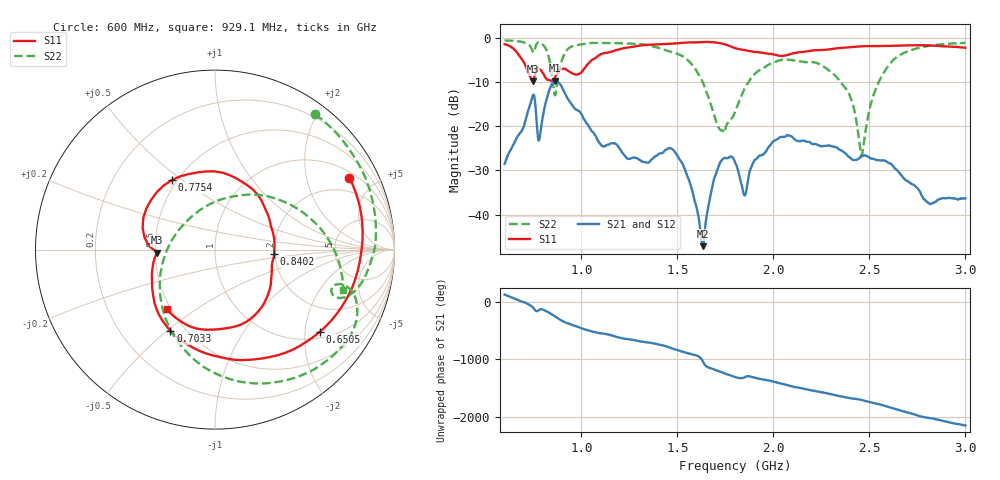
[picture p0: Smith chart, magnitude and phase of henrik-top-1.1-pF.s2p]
#  HZ  S  RI  R  50.00
! Rohde & Schwarz ZVB8 2Ports - Version 2.81 - 1145.1010k08 SN: 100113
! Date: 2016-04-20 02:37:23
! Measurements: S11 S21 S12 S22
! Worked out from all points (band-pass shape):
!   1000 points, 600 MHz to 3 GHz, reference 50 ohm
!   highest |S21| = -9.66 dB at 864.3 MHz (marker M1); lowest = -47.2 dB at 1.633 GHz (marker M2)
!   |S21| within 3 dB of the highest: 827 MHz to 916 MHz (89 MHz wide, 10.2 % of centre)
!   lowest |S11| = -9.8 dB at 746.5 MHz (marker M3), VSWR 1.96, Z = 25.6 - j0.923 ohm
!   |S11| at or under -10 dB: nowhere
!   |S22| runs from -26.7 to -0.6 dB; largest |S21 - S12| = 0.0029
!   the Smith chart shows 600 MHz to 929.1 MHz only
!   S11 on the Smith chart (normalised r, x): 600 MHz: 1.24, +3.58; 650.5 MHz: 1.17, -2.39; 703.3 MHz: 0.42, -0.51; 775.4 MHz: 0.47, +0.46; 840.2 MHz: 1.98, -0.10; 929.1 MHz: 0.48, -0.39
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6e8  0.7488 0.4009  -0.0226 0.0299  -0.0226 0.0298  0.5587 0.7542
6.504505e8  0.5834 -0.4585  0.0342 0.0552  0.0342 0.0552  0.8214 0.4359
7.033033e8  -0.2489 -0.4529  0.1045 -0.015  0.104 -0.0172  0.8868 -0.00759
7.465465e8  -0.3233 -0.0162  -0.0184 -0.2223  -0.0182 -0.2222  0.6555 -0.2518
7.753754e8  -0.2409 0.3877  -0.0617 -0.0349  -0.062 -0.0353  0.7569 -0.4752
8.402402e8  0.3303 -0.0229  -0.2554 0.1219  -0.2553 0.122  -0.2758 -0.3843
8.642643e8  0.3102 -0.1971  -0.0605 0.3232  -0.0605 0.3233  -0.1284 0.1858
9.291291e8  -0.2686 -0.3324  0.1988 -0.048  0.1986 -0.048  0.7154 -0.2239
1.001201e9  -0.411 0.0374  -0.0242 -0.1341  -0.0242 -0.1341  0.342 -0.7745
1.111712e9  0.0783 0.6636  -0.0579 0.0116  -0.0578 0.0116  -0.4584 -0.7525
1.231832e9  0.7755 -0.0208  0.0107 0.0433  0.0108 0.0432  -0.8689 -0.0284
1.4e9  -0.2081 -0.8219  0.0458 -0.0149  0.0458 -0.015  -0.061 0.7732
1.524925e9  -0.8698 -0.1452  -0.0308 -0.0226  -0.0308 -0.0226  0.578 0.2386
1.633033e9  -0.6383 0.6353  0.0032 0.00299  0.00319 0.00297  0.1655 -0.2644
1.717117e9  -0.0622 0.8773  -0.0211 -0.0296  -0.0211 -0.0297  -0.0246 -0.0911
1.801201e9  0.4119 0.6475  -0.0259 0.0284  -0.026 0.0285  -0.1477 -0.00385
1.95976e9  0.6711 0.0497  0.00416 0.0513  0.00416 0.0513  0.2403 0.4105
2.2e9  0.2593 -0.6729  -0.00976 -0.0624  -0.00976 -0.0624  0.3726 -0.3822
2.459459e9  -0.7618 -0.2591  -0.00433 0.0459  -0.00443 0.0458  0.00942 -0.0452
2.601201e9  -0.6876 0.435  0.0343 -0.0176  0.0343 -0.0176  0.2324 -0.438
2.747748e9  -0.0716 0.8244  -0.0199 -0.00362  -0.0198 -0.00369  -0.4691 -0.6033
3e9  0.7748 0.0389  0.0149 0.00339  0.0149 0.00342  -0.5597 0.6804
